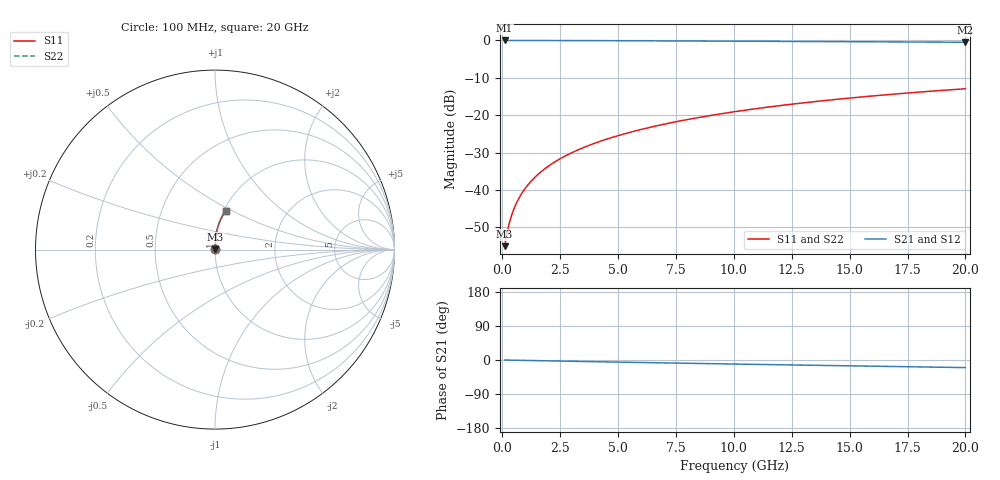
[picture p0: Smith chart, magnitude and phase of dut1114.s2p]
! Touchstone file exported from HFSS 2024.1.0
!  File:  C:/UserFiles/LocalFiles/RDL_TSV_Batchsim/temp_RDL_bottom_1114_1780054563.aedt
!  Generated:  07:38:53 PM May 29, 2026
!  Design:  RDL_bottom
!  Project:  temp_RDL_bottom_1114_1780054563
!  Setup:  Setup1
!  Solution:  Sweep
! Variables:
!  dtsv = 10.80580581um
!  hbump = 3um
!  htsv = 93.74um
!  ldown = 240.33um
!  lrdl = 100um
!  p = 40
!  p1 = 51.81um
!  rhole = 1um
!  t = 450um
!  tdown = 3.57um
!  trdl = 3.915915916um
!  wdown = 20.47um
!  wrdl = 20um
# GHz S MA R 50.000000
! Terminal data exported
! Port[1] = RDL1_T1
! Port[2] = RDL1_T2
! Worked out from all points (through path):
!   200 points, 100 MHz to 20 GHz, reference 50 ohm
!   highest |S21| = -0.01 dB at 100 MHz (marker M1); lowest = -0.5 dB at 20 GHz (marker M2)
!   group delay of S21, straight-line fit = 2.76 ps
!   lowest |S11| = -55.1 dB at 100 MHz (marker M3), VSWR 1.00, Z = 50.1 + j0.111 ohm
!   |S11| at or under -10 dB: start of sweep to end of sweep
!   |S22| runs from -55.1 to -12.9 dB; largest |S21 - S12| = 3.1e-15
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0.1  0.001764 39.1  0.9986 -0.1  0.9986 -0.1  0.001764 39.1
! Gamma 0 0 0 0
! Port Impedance 50 0 50 0
0.2  0.002616 57.1  0.9986 -0.2  0.9986 -0.2  0.002616 57.1
0.3  0.003572 65.6  0.9985 -0.4  0.9985 -0.4  0.003572 65.6
0.4  0.004551 70.5  0.9984 -0.5  0.9984 -0.5  0.004551 70.5
0.5  0.005539 73.7  0.9984 -0.6  0.9984 -0.6  0.005539 73.7
0.6  0.006533 76.0  0.9983 -0.7  0.9983 -0.7  0.006533 76.0
0.8  0.008539 79.1  0.9982 -0.9  0.9982 -0.9  0.008539 79.1
1.1  0.01158 81.8  0.9979 -1.3  0.9979 -1.3  0.01158 81.8
1.5  0.01569 83.8  0.9976 -1.7  0.9976 -1.7  0.01569 83.8
1.8  0.01879 84.8  0.9973 -2.1  0.9973 -2.1  0.01879 84.8
2.1  0.02192 85.5  0.9969 -2.4  0.9969 -2.4  0.02192 85.5
2.7  0.02823 86.3  0.996 -3.1  0.996 -3.1  0.02823 86.3
3.5  0.03677 86.9  0.9945 -4.0  0.9945 -4.0  0.03677 86.9
4.2  0.04436 87.1  0.993 -4.7  0.993 -4.7  0.04436 87.1
5  0.05319 87.1  0.9911 -5.6  0.9911 -5.6  0.05319 87.1
5.9  0.06328 86.8  0.9887 -6.5  0.9887 -6.5  0.06328 86.8
6.8  0.07352 86.4  0.9862 -7.5  0.9862 -7.5  0.07352 86.4
8.4  0.09203 85.4  0.9816 -9.1  0.9816 -9.1  0.09203 85.4
10.1  0.1119 84.1  0.9765 -10.8  0.9765 -10.8  0.1119 84.1
13.4  0.1507 81.0  0.9664 -13.9  0.9664 -13.9  0.1507 81.0
16.7  0.1887 77.7  0.956 -17.0  0.956 -17.0  0.1887 77.7
20  0.2256 74.3  0.9452 -20.1  0.9452 -20.1  0.2256 74.3
